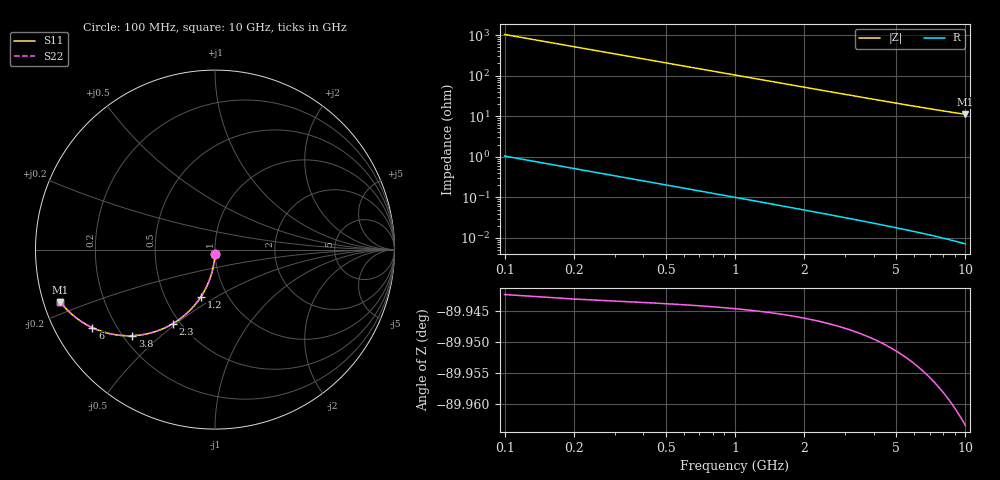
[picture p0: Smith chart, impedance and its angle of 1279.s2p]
# Hz S RI R 50.00
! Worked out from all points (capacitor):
!   100 points, 100 MHz to 10 GHz, reference 50 ohm
!   read as one part in shunt: C = 1.53 pF near 100 MHz
!   lowest |Z| = 11.2 ohm at 10 GHz (marker M1)
!   S11 on the Smith chart (normalised r, x): 100 MHz: 1.00, -0.05; 1.2 GHz: 0.75, -0.43; 2.3 GHz: 0.46, -0.49; 3.8 GHz: 0.24, -0.41; 6 GHz: 0.11, -0.29; 10 GHz: 0.05, -0.16
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1e8  -0.000469 -0.0236  0.9993 -0.0246  0.9993 -0.0246  -0.000469 -0.0236
2e8  -0.00223 -0.0472  0.9975 -0.049  0.9975 -0.049  -0.00223 -0.0472
3e8  -0.00514 -0.0705  0.9946 -0.0734  0.9946 -0.0734  -0.00514 -0.0705
4e8  -0.00917 -0.0936  0.9905 -0.0974  0.9905 -0.0974  -0.00917 -0.0936
5e8  -0.0143 -0.1164  0.9854 -0.1212  0.9854 -0.1212  -0.0143 -0.1164
6e8  -0.0205 -0.1388  0.9792 -0.1445  0.9792 -0.1445  -0.0205 -0.1388
7e8  -0.0277 -0.1608  0.972 -0.1674  0.972 -0.1674  -0.0277 -0.1608
9e8  -0.045 -0.203  0.9546 -0.2115  0.9546 -0.2115  -0.045 -0.203
1.2e9  -0.0774 -0.2613  0.9222 -0.2727  0.9222 -0.2727  -0.0774 -0.2613
1.5e9  -0.116 -0.3128  0.8836 -0.3271  0.8836 -0.3271  -0.116 -0.3128
1.8e9  -0.1591 -0.3569  0.8405 -0.374  0.8405 -0.374  -0.1591 -0.3569
2.3e9  -0.2363 -0.4135  0.7632 -0.4354  0.7632 -0.4354  -0.2363 -0.4135
2.8e9  -0.3148 -0.4507  0.6845 -0.4774  0.6845 -0.4774  -0.3148 -0.4507
3.4e9  -0.4047 -0.4741  0.5945 -0.5067  0.5945 -0.5067  -0.4047 -0.4741
3.8e9  -0.4598 -0.4797  0.5393 -0.5161  0.5393 -0.5161  -0.4598 -0.4797
4.4e9  -0.5339 -0.4771  0.4649 -0.5195  0.4649 -0.5195  -0.5339 -0.4771
5.1e9  -0.6074 -0.4629  0.391 -0.5123  0.391 -0.5123  -0.6074 -0.4629
6e9  -0.6833 -0.435  0.3147 -0.4935  0.3147 -0.4935  -0.6833 -0.435
6.7e9  -0.7303 -0.4098  0.2673 -0.4755  0.2673 -0.4755  -0.7303 -0.4098
7.5e9  -0.7736 -0.3799  0.2233 -0.4539  0.2233 -0.4539  -0.7736 -0.3799
8.4e9  -0.8122 -0.3467  0.184 -0.4302  0.184 -0.4302  -0.8122 -0.3467
1e10  -0.8615 -0.2914  0.133 -0.3924  0.133 -0.3924  -0.8615 -0.2914
